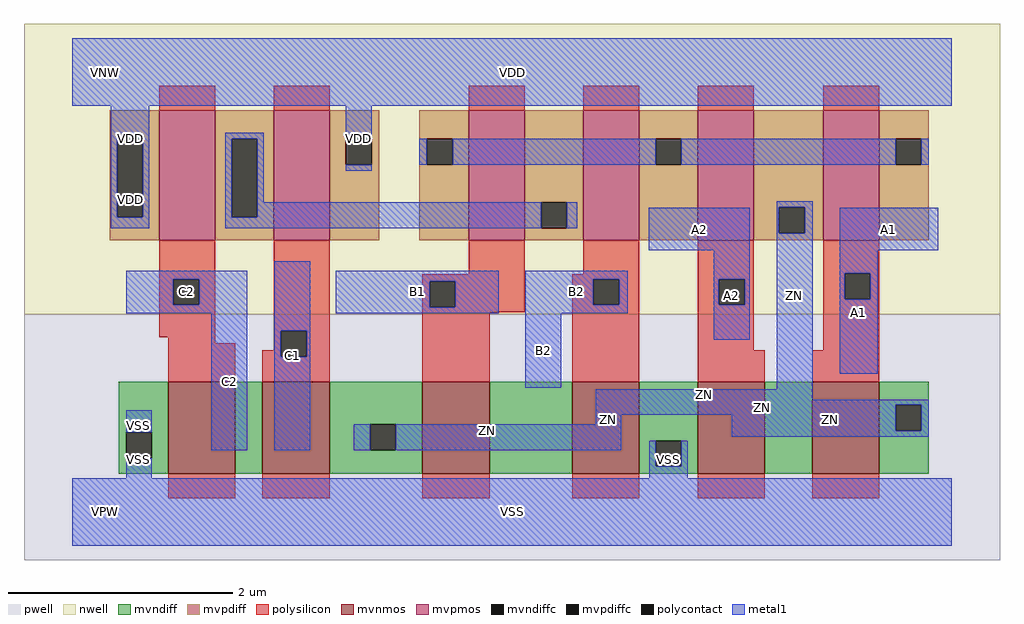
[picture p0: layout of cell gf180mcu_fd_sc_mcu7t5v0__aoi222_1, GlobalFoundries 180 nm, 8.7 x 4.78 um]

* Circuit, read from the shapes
.subckt gf180mcu_fd_sc_mcu7t5v0__aoi222_1 A1 A2 B1 B2 C1 C2 ZN VDD VNW VPW VSS
XM1 n1 C2 VSS VPW nfet_06v0 w=0.82u l=0.6u
XM2 ZN C1 n1 VPW nfet_06v0 w=0.82u l=0.6u
XM3 n2 B1 ZN VPW nfet_06v0 w=0.82u l=0.6u
XM4 VSS B2 n2 VPW nfet_06v0 w=0.82u l=0.6u
XM5 n3 A2 VSS VPW nfet_06v0 w=0.82u l=0.6u
XM6 ZN A1 n3 VPW nfet_06v0 w=0.82u l=0.6u
XM7 n4 C2 VDD VNW pfet_06v0 w=1.16u l=0.5u
XM8 VDD C1 n4 VNW pfet_06v0 w=1.16u l=0.5u
XM9 n4 B1 n5 VNW pfet_06v0 w=1.16u l=0.5u
XM10 n5 B2 n4 VNW pfet_06v0 w=1.16u l=0.5u
XM11 ZN A2 n5 VNW pfet_06v0 w=1.16u l=0.5u
XM12 n5 A1 ZN VNW pfet_06v0 w=1.16u l=0.5u
.ends

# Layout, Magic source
magic
tech gf180mcuD
magscale 1 10
<< nwell >>
rect -86 352 1654 870
<< pwell >>
rect -86 -86 1654 352
<< mvnmos >>
rect 171 68 291 232
rect 339 68 459 232
rect 624 68 744 232
rect 891 68 1011 232
rect 1115 68 1235 232
rect 1319 68 1439 232
<< mvpmos >>
rect 155 484 255 716
rect 359 484 459 716
rect 707 484 807 716
rect 911 484 1011 716
rect 1115 484 1215 716
rect 1339 484 1439 716
<< mvndiff >>
rect 83 142 171 232
rect 83 96 96 142
rect 142 96 171 142
rect 83 68 171 96
rect 291 68 339 232
rect 459 156 624 232
rect 459 110 531 156
rect 577 110 624 156
rect 459 68 624 110
rect 744 68 891 232
rect 1011 127 1115 232
rect 1011 81 1040 127
rect 1086 81 1115 127
rect 1011 68 1115 81
rect 1235 68 1319 232
rect 1439 191 1527 232
rect 1439 145 1468 191
rect 1514 145 1527 191
rect 1439 68 1527 145
<< mvpdiff >>
rect 67 665 155 716
rect 67 525 80 665
rect 126 525 155 665
rect 67 484 155 525
rect 255 665 359 716
rect 255 525 284 665
rect 330 525 359 665
rect 255 484 359 525
rect 459 665 547 716
rect 459 619 488 665
rect 534 619 547 665
rect 459 484 547 619
rect 619 665 707 716
rect 619 619 632 665
rect 678 619 707 665
rect 619 484 707 619
rect 807 552 911 716
rect 807 506 836 552
rect 882 506 911 552
rect 807 484 911 506
rect 1011 665 1115 716
rect 1011 619 1040 665
rect 1086 619 1115 665
rect 1011 484 1115 619
rect 1215 543 1339 716
rect 1215 497 1260 543
rect 1306 497 1339 543
rect 1215 484 1339 497
rect 1439 665 1527 716
rect 1439 619 1468 665
rect 1514 619 1527 665
rect 1439 484 1527 619
<< mvndiffc >>
rect 96 96 142 142
rect 531 110 577 156
rect 1040 81 1086 127
rect 1468 145 1514 191
<< mvpdiffc >>
rect 80 525 126 665
rect 284 525 330 665
rect 488 619 534 665
rect 632 619 678 665
rect 836 506 882 552
rect 1040 619 1086 665
rect 1260 497 1306 543
rect 1468 619 1514 665
<< polysilicon >>
rect 155 716 255 760
rect 359 716 459 760
rect 707 716 807 760
rect 911 716 1011 760
rect 1115 716 1215 760
rect 1339 716 1439 760
rect 155 415 255 484
rect 155 369 180 415
rect 226 369 255 415
rect 155 311 255 369
rect 171 301 255 311
rect 359 323 459 484
rect 707 424 807 484
rect 911 424 1011 484
rect 171 232 291 301
rect 359 288 372 323
rect 339 277 372 288
rect 418 277 459 323
rect 339 232 459 277
rect 624 411 807 424
rect 624 365 637 411
rect 683 365 807 411
rect 624 356 807 365
rect 891 415 1011 424
rect 891 369 929 415
rect 975 369 1011 415
rect 624 232 744 356
rect 891 232 1011 369
rect 1115 415 1215 484
rect 1115 369 1153 415
rect 1199 369 1215 415
rect 1115 288 1215 369
rect 1339 425 1439 484
rect 1339 379 1377 425
rect 1423 379 1439 425
rect 1339 288 1439 379
rect 1115 232 1235 288
rect 1319 232 1439 288
rect 171 24 291 68
rect 339 24 459 68
rect 624 24 744 68
rect 891 24 1011 68
rect 1115 24 1235 68
rect 1319 24 1439 68
<< polycontact >>
rect 180 369 226 415
rect 372 277 418 323
rect 637 365 683 411
rect 929 369 975 415
rect 1153 369 1199 415
rect 1377 379 1423 425
<< metal1 >>
rect 0 724 1568 844
rect 69 665 137 724
rect 69 525 80 665
rect 126 525 137 665
rect 69 506 137 525
rect 273 665 341 676
rect 273 525 284 665
rect 330 552 341 665
rect 488 665 534 724
rect 619 619 632 665
rect 678 619 1040 665
rect 1086 619 1468 665
rect 1514 619 1527 665
rect 488 608 534 619
rect 330 525 836 552
rect 273 506 836 525
rect 882 506 900 552
rect 1256 543 1320 554
rect 1028 466 1208 542
rect 96 415 312 430
rect 96 369 180 415
rect 226 369 312 415
rect 96 354 312 369
rect 96 142 142 181
rect 248 110 312 354
rect 360 323 424 447
rect 470 411 760 430
rect 470 365 637 411
rect 683 365 760 411
rect 470 354 760 365
rect 808 415 990 430
rect 808 369 929 415
rect 975 369 990 415
rect 808 354 990 369
rect 1144 415 1208 466
rect 1144 369 1153 415
rect 1199 369 1208 415
rect 360 277 372 323
rect 418 277 424 323
rect 360 110 424 277
rect 808 221 872 354
rect 1144 307 1208 369
rect 1256 497 1260 543
rect 1306 497 1320 543
rect 1256 219 1320 497
rect 1368 466 1544 542
rect 1368 425 1436 466
rect 1368 379 1377 425
rect 1423 379 1436 425
rect 1368 246 1436 379
rect 933 200 1320 219
rect 933 191 1527 200
rect 933 173 1468 191
rect 933 156 979 173
rect 502 110 531 156
rect 577 110 979 156
rect 1176 145 1468 173
rect 1514 145 1527 191
rect 1176 134 1527 145
rect 96 60 142 96
rect 1029 81 1040 127
rect 1086 81 1097 127
rect 1029 60 1097 81
rect 0 -60 1568 60
<< labels >>
flabel metal1 s 96 127 142 181 0 FreeSans 400 0 0 0 VSS
port 11 nsew ground bidirectional abutment
flabel metal1 s 0 724 1568 844 0 FreeSans 400 0 0 0 VDD
port 8 nsew power bidirectional abutment
flabel metal1 s 96 354 312 430 0 FreeSans 400 0 0 0 C2
port 6 nsew default input
flabel metal1 s 360 110 424 447 0 FreeSans 400 0 0 0 C1
port 5 nsew default input
flabel metal1 s 808 354 990 430 0 FreeSans 400 0 0 0 B2
port 4 nsew default input
flabel metal1 s 470 354 760 430 0 FreeSans 400 0 0 0 B1
port 3 nsew default input
flabel metal1 s 1028 466 1208 542 0 FreeSans 400 0 0 0 A2
port 2 nsew default input
flabel metal1 s 1368 466 1544 542 0 FreeSans 400 0 0 0 A1
port 1 nsew default input
flabel metal1 s 1256 219 1320 554 0 FreeSans 400 0 0 0 ZN
port 7 nsew default output
flabel nwell s 10 734 110 834 0 FreeSans 400 0 0 0 VNW
port 9 nsew power bidirectional
flabel pwell s 10 -50 110 50 0 FreeSans 400 0 0 0 VPW
port 10 nsew ground bidirectional
rlabel metal1 s 1368 246 1436 466 1 A1
port 1 nsew default input
rlabel metal1 s 1144 307 1208 466 1 A2
port 2 nsew default input
rlabel metal1 s 808 221 872 354 1 B2
port 4 nsew default input
rlabel metal1 s 248 110 312 354 1 C2
port 6 nsew default input
rlabel metal1 s 933 200 1320 219 1 ZN
port 7 nsew default output
rlabel metal1 s 933 173 1527 200 1 ZN
port 7 nsew default output
rlabel metal1 s 1176 156 1527 173 1 ZN
port 7 nsew default output
rlabel metal1 s 933 156 979 173 1 ZN
port 7 nsew default output
rlabel metal1 s 1176 134 1527 156 1 ZN
port 7 nsew default output
rlabel metal1 s 502 134 979 156 1 ZN
port 7 nsew default output
rlabel metal1 s 502 110 979 134 1 ZN
port 7 nsew default output
rlabel metal1 s 488 608 534 724 1 VDD
port 8 nsew power bidirectional abutment
rlabel metal1 s 69 608 137 724 1 VDD
port 8 nsew power bidirectional abutment
rlabel metal1 s 69 506 137 608 1 VDD
port 8 nsew power bidirectional abutment
rlabel metal1 s 1029 60 1097 127 1 VSS
port 11 nsew ground bidirectional abutment
rlabel metal1 s 96 60 142 127 1 VSS
port 11 nsew ground bidirectional abutment
rlabel metal1 s 0 -60 1568 60 1 VSS
port 11 nsew ground bidirectional abutment
<< properties >>
string FIXED_BBOX 0 0 1568 784
string GDS_END 1314882
string GDS_FILE $PDKPATH/libs.ref/gf180mcu_fd_sc_mcu7t5v0/gds/gf180mcu_fd_sc_mcu7t5v0.gds
string GDS_START 1310440
string LEFclass core
string LEFsite GF018hv5v_mcu_sc7
string LEFsymmetry X Y
<< end >>
